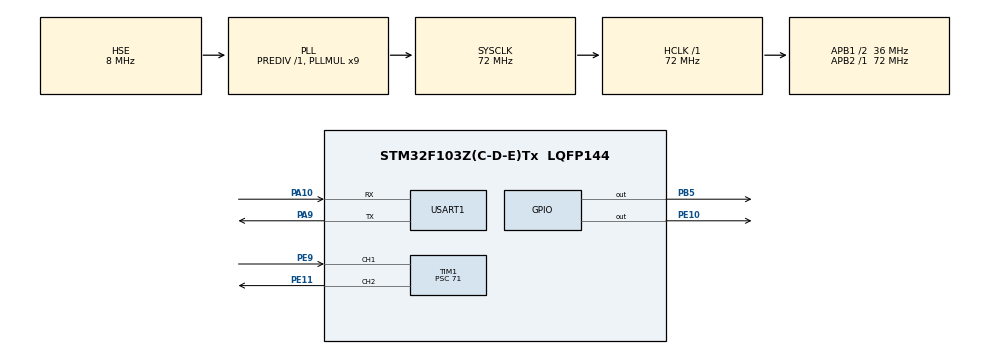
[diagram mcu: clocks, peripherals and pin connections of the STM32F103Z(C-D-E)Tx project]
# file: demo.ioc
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Mcu.Family=STM32F1
Mcu.Name=STM32F103Z(C-D-E)Tx
Mcu.Package=LQFP144
NVIC.PriorityGroup=NVIC_PRIORITYGROUP_4
NVIC.TIM1_CC_IRQn=true\:0\:0\:false\:false\:true\:true\:true
NVIC.TIM1_UP_IRQn=true\:0\:0\:false\:false\:true\:true\:true
NVIC.USART1_IRQn=true\:2\:0\:true\:false\:true\:true\:true
OSC_IN.Mode=HSE-External-Oscillator
OSC_IN.Signal=RCC_OSC_IN
OSC_OUT.Mode=HSE-External-Oscillator
OSC_OUT.Signal=RCC_OSC_OUT
PA10.Mode=Asynchronous
PA10.Signal=USART1_RX
PA13.Mode=Serial_Wire
PA13.Signal=SYS_JTMS-SWDIO
PA14.Mode=Serial_Wire
PA14.Signal=SYS_JTCK-SWCLK
PA9.Mode=Asynchronous
PA9.Signal=USART1_TX
PB5.GPIO_PuPd=GPIO_PULLUP
PB5.GPIO_Speed=GPIO_SPEED_FREQ_HIGH
PB5.Signal=GPIO_Output
PE10.GPIO_PuPd=GPIO_PULLDOWN
PE10.GPIO_Speed=GPIO_SPEED_FREQ_HIGH
PE10.PinState=GPIO_PIN_RESET
PE10.Signal=GPIO_Output
PE11.Signal=S_TIM1_CH2
PE9.GPIO_PuPd=GPIO_PULLDOWN
PE9.Signal=S_TIM1_CH1
ProjectManager.HeapSize=0x200
ProjectManager.StackSize=0x400
ProjectManager.TargetToolchain=MDK-ARM V5
RCC.AHBFreq_Value=72000000
RCC.APB1CLKDivider=RCC_HCLK_DIV2
RCC.APB1Freq_Value=36000000
RCC.APB1TimFreq_Value=72000000
RCC.APB2Freq_Value=72000000
RCC.APB2TimFreq_Value=72000000
RCC.HCLKFreq_Value=72000000
RCC.PLLMUL=RCC_PLL_MUL9
RCC.PLLSourceVirtual=RCC_PLLSOURCE_HSE
RCC.SYSCLKFreq_VALUE=72000000
RCC.SYSCLKSource=RCC_SYSCLKSOURCE_PLLCLK
RCC.USBFreq_Value=72000000
SH.S_TIM1_CH1.0=TIM1_CH1,Input_Capture1_from_TI1
SH.S_TIM1_CH2.0=TIM1_CH2,PWM Generation2 CH2
TIM1.Channel-Input_Capture1_from_TI1=TIM_CHANNEL_1
TIM1.Channel-PWM\ Generation2\ CH2=TIM_CHANNEL_2
TIM1.Period=9999
TIM1.Prescaler=71
TIM1.Pulse-PWM\ Generation2\ CH2=4999
USART1.VirtualMode=VM_ASYNC
VP_TIM1_VS_ClockSourceINT.Mode=Internal
board=custom

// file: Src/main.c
/* USER CODE BEGIN Header */
/**
  ******************************************************************************
  * @file           : main.c
  * @brief          : Main program body
  ******************************************************************************
  * @attention
  *
  * <h2><center>&copy; Copyright (c) 2022 STMicroelectronics.
  * All rights reserved.</center></h2>
  *
  * This software component is licensed by ST under BSD 3-Clause license,
  * the "License"; You may not use this file except in compliance with the
  * License. You may obtain a copy of the License at:
  *                        opensource.org/licenses/BSD-3-Clause
  *
  ******************************************************************************
  */
/* USER CODE END Header */
#include "main.h"

/* USER CODE BEGIN Includes */
#include <string.h>
#include <stdbool.h>
#include <stdio.h>

/* USER CODE END Includes */

/* USER CODE BEGIN PTD */
#define Pi 3.1415926
/* USER CODE END PTD */

TIM_HandleTypeDef htim1;

UART_HandleTypeDef huart1;

void SystemClock_Config(void);
static void MX_GPIO_Init(void);
static void MX_USART1_UART_Init(void);
static void MX_TIM1_Init(void);

/* USER CODE BEGIN 0 */
	uint8_t RxBuffer[3];
	GPIO_PinState GPIO_PIN_5_State=GPIO_PIN_RESET;
	_Bool LedState=true;
	char LedOn[]="the led in on";
	char LedOff[]="the led in off";
	uint32_t CaptureValue=0;
	double Length=0;
	_Bool Capturing=false;
/* USER CODE END 0 */

int main(void)
{

  /* MCU Configuration--------------------------------------------------------*/

  /* Reset of all peripherals, Initializes the Flash interface and the Systick. */
  HAL_Init();

  /* Configure the system clock */
  SystemClock_Config();

  /* Initialize all configured peripherals */
  MX_GPIO_Init();
  MX_USART1_UART_Init();
  MX_TIM1_Init();
  /* USER CODE BEGIN 2 */

	HAL_UART_Receive_IT(&huart1, RxBuffer, 3);
	//HAL_TIM_Base_Start_IT(&htim1);
	HAL_TIM_IC_Start_IT(&htim1, TIM_CHANNEL_1);
	HAL_TIM_PWM_Start(&htim1, TIM_CHANNEL_2);

  /* USER CODE END 2 */

  /* Infinite loop */
  /* USER CODE BEGIN WHILE */

  while (1)
  {
		unsigned char data[8]="hello\r\n";
		HAL_GPIO_WritePin(GPIOE, GPIO_PIN_10, GPIO_PIN_SET);
		HAL_Delay(1);
		HAL_GPIO_WritePin(GPIOE, GPIO_PIN_10, GPIO_PIN_RESET);
		HAL_Delay(1000);

    /* USER CODE END WHILE */

  }
}

void SystemClock_Config(void)
{
  RCC_OscInitTypeDef RCC_OscInitStruct = {0};
  RCC_ClkInitTypeDef RCC_ClkInitStruct = {0};

  /** Initializes the RCC Oscillators according to the specified parameters
  * in the RCC_OscInitTypeDef structure.
  */
  RCC_OscInitStruct.OscillatorType = RCC_OSCILLATORTYPE_HSE;
  RCC_OscInitStruct.HSEState = RCC_HSE_ON;
  RCC_OscInitStruct.HSEPredivValue = RCC_HSE_PREDIV_DIV1;
  RCC_OscInitStruct.HSIState = RCC_HSI_ON;
  RCC_OscInitStruct.PLL.PLLState = RCC_PLL_ON;
  RCC_OscInitStruct.PLL.PLLSource = RCC_PLLSOURCE_HSE;
  RCC_OscInitStruct.PLL.PLLMUL = RCC_PLL_MUL9;
  if (HAL_RCC_OscConfig(&RCC_OscInitStruct) != HAL_OK)
  {
    Error_Handler();
  }
  /** Initializes the CPU, AHB and APB buses clocks
  */
  RCC_ClkInitStruct.ClockType = RCC_CLOCKTYPE_HCLK|RCC_CLOCKTYPE_SYSCLK
                              |RCC_CLOCKTYPE_PCLK1|RCC_CLOCKTYPE_PCLK2;
  RCC_ClkInitStruct.SYSCLKSource = RCC_SYSCLKSOURCE_PLLCLK;
  RCC_ClkInitStruct.AHBCLKDivider = RCC_SYSCLK_DIV1;
  RCC_ClkInitStruct.APB1CLKDivider = RCC_HCLK_DIV2;
  RCC_ClkInitStruct.APB2CLKDivider = RCC_HCLK_DIV1;

  if (HAL_RCC_ClockConfig(&RCC_ClkInitStruct, FLASH_LATENCY_2) != HAL_OK)
  {
    Error_Handler();
  }
}

static void MX_TIM1_Init(void)
{

  TIM_ClockConfigTypeDef sClockSourceConfig = {0};
  TIM_MasterConfigTypeDef sMasterConfig = {0};
  TIM_IC_InitTypeDef sConfigIC = {0};
  TIM_OC_InitTypeDef sConfigOC = {0};
  TIM_BreakDeadTimeConfigTypeDef sBreakDeadTimeConfig = {0};

  htim1.Instance = TIM1;
  htim1.Init.Prescaler = 71;
  htim1.Init.CounterMode = TIM_COUNTERMODE_UP;
  htim1.Init.Period = 9999;
  htim1.Init.ClockDivision = TIM_CLOCKDIVISION_DIV1;
  htim1.Init.RepetitionCounter = 0;
  htim1.Init.AutoReloadPreload = TIM_AUTORELOAD_PRELOAD_DISABLE;
  if (HAL_TIM_Base_Init(&htim1) != HAL_OK)
  {
    Error_Handler();
  }
  sClockSourceConfig.ClockSource = TIM_CLOCKSOURCE_INTERNAL;
  if (HAL_TIM_ConfigClockSource(&htim1, &sClockSourceConfig) != HAL_OK)
  {
    Error_Handler();
  }
  if (HAL_TIM_IC_Init(&htim1) != HAL_OK)
  {
    Error_Handler();
  }
  if (HAL_TIM_PWM_Init(&htim1) != HAL_OK)
  {
    Error_Handler();
  }
  sMasterConfig.MasterOutputTrigger = TIM_TRGO_RESET;
  sMasterConfig.MasterSlaveMode = TIM_MASTERSLAVEMODE_DISABLE;
  if (HAL_TIMEx_MasterConfigSynchronization(&htim1, &sMasterConfig) != HAL_OK)
  {
    Error_Handler();
  }
  sConfigIC.ICPolarity = TIM_INPUTCHANNELPOLARITY_RISING;
  sConfigIC.ICSelection = TIM_ICSELECTION_DIRECTTI;
  sConfigIC.ICPrescaler = TIM_ICPSC_DIV1;
  sConfigIC.ICFilter = 0;
  if (HAL_TIM_IC_ConfigChannel(&htim1, &sConfigIC, TIM_CHANNEL_1) != HAL_OK)
  {
    Error_Handler();
  }
  sConfigOC.OCMode = TIM_OCMODE_PWM1;
  sConfigOC.Pulse = 4999;
  sConfigOC.OCPolarity = TIM_OCPOLARITY_HIGH;
  sConfigOC.OCNPolarity = TIM_OCNPOLARITY_HIGH;
  sConfigOC.OCFastMode = TIM_OCFAST_DISABLE;
  sConfigOC.OCIdleState = TIM_OCIDLESTATE_RESET;
  sConfigOC.OCNIdleState = TIM_OCNIDLESTATE_RESET;
  if (HAL_TIM_PWM_ConfigChannel(&htim1, &sConfigOC, TIM_CHANNEL_2) != HAL_OK)
  {
    Error_Handler();
  }
  sBreakDeadTimeConfig.OffStateRunMode = TIM_OSSR_DISABLE;
  sBreakDeadTimeConfig.OffStateIDLEMode = TIM_OSSI_DISABLE;
  sBreakDeadTimeConfig.LockLevel = TIM_LOCKLEVEL_OFF;
  sBreakDeadTimeConfig.DeadTime = 0;
  sBreakDeadTimeConfig.BreakState = TIM_BREAK_DISABLE;
  sBreakDeadTimeConfig.BreakPolarity = TIM_BREAKPOLARITY_HIGH;
  sBreakDeadTimeConfig.AutomaticOutput = TIM_AUTOMATICOUTPUT_DISABLE;
  if (HAL_TIMEx_ConfigBreakDeadTime(&htim1, &sBreakDeadTimeConfig) != HAL_OK)
  {
    Error_Handler();
  }
  HAL_TIM_MspPostInit(&htim1);

}

static void MX_USART1_UART_Init(void)
{

  huart1.Instance = USART1;
  huart1.Init.BaudRate = 115200;
  huart1.Init.WordLength = UART_WORDLENGTH_8B;
  huart1.Init.StopBits = UART_STOPBITS_1;
  huart1.Init.Parity = UART_PARITY_NONE;
  huart1.Init.Mode = UART_MODE_TX_RX;
  huart1.Init.HwFlowCtl = UART_HWCONTROL_NONE;
  huart1.Init.OverSampling = UART_OVERSAMPLING_16;
  if (HAL_UART_Init(&huart1) != HAL_OK)
  {
    Error_Handler();
  }

}

static void MX_GPIO_Init(void)
{
  GPIO_InitTypeDef GPIO_InitStruct = {0};

  /* GPIO Ports Clock Enable */
  __HAL_RCC_GPIOE_CLK_ENABLE();
  __HAL_RCC_GPIOA_CLK_ENABLE();
  __HAL_RCC_GPIOB_CLK_ENABLE();

  /*Configure GPIO pin Output Level */
  HAL_GPIO_WritePin(GPIOE, GPIO_PIN_10, GPIO_PIN_RESET);

  /*Configure GPIO pin Output Level */
  HAL_GPIO_WritePin(GPIOB, GPIO_PIN_5, GPIO_PIN_RESET);

  /*Configure GPIO pin : PE10 */
  GPIO_InitStruct.Pin = GPIO_PIN_10;
  GPIO_InitStruct.Mode = GPIO_MODE_OUTPUT_PP;
  GPIO_InitStruct.Pull = GPIO_PULLDOWN;
  GPIO_InitStruct.Speed = GPIO_SPEED_FREQ_HIGH;
  HAL_GPIO_Init(GPIOE, &GPIO_InitStruct);

  /*Configure GPIO pin : PB5 */
  GPIO_InitStruct.Pin = GPIO_PIN_5;
  GPIO_InitStruct.Mode = GPIO_MODE_OUTPUT_PP;
  GPIO_InitStruct.Pull = GPIO_PULLUP;
  GPIO_InitStruct.Speed = GPIO_SPEED_FREQ_HIGH;
  HAL_GPIO_Init(GPIOB, &GPIO_InitStruct);

}

/* USER CODE BEGIN 4 */
void HAL_UART_RxCpltCallback(UART_HandleTypeDef *huart)
{
  /* Prevent unused argument(s) compilation warning */

		char Instruct[sizeof(RxBuffer)];
		strcpy(Instruct,(char *)RxBuffer);
		LedState=!LedState;
//		for(int i=0;i<sizeof(Instruct);i++)
//		{
//			Instruct[i]=RxBuffer[i];
//		}

//		HAL_Delay(10);
//		if(strncmp(Instruct,"ONN",sizeof(Instruct))==0)
//			{
//				HAL_GPIO_WritePin(GPIOB, GPIO_PIN_5, GPIO_PIN_RESET);
//				HAL_UART_Transmit(huart,(uint8_t*)LedOn,sizeof(LedOn),1000);
//			}
//		else if(strncmp(Instruct,"OFF",sizeof(Instruct))==0)
//			{
//				HAL_GPIO_WritePin(GPIOB, GPIO_PIN_5, GPIO_PIN_SET);
//				HAL_UART_Transmit(huart,(uint8_t*)LedOff,sizeof(LedOff),1000);
//			}

				HAL_GPIO_WritePin(GPIOB, GPIO_PIN_5, LedState);

		HAL_UART_Receive_IT(&huart1, RxBuffer, 3);

  /* NOTE: This function should not be modified, when the callback is needed,
           the HAL_UART_RxCpltCallback could be implemented in the user file
   */
}

void HAL_TIM_PeriodElapsedCallback(TIM_HandleTypeDef *htim)
{
	HAL_UART_Transmit(&huart1,(uint8_t*)LedOff,sizeof(LedOff),1000);

}

void HAL_TIM_IC_CaptureCallback(TIM_HandleTypeDef *htim)
{

	if(Capturing==false)
	{
		Capturing=true;
//		__HAL_TIM_DISABLE(htim);
		__HAL_TIM_SET_COUNTER(htim, 0);
//		TIM_RESET_CAPTUREPOLARITY(htim, TIM_CHANNEL_1);
		TIM_SET_CAPTUREPOLARITY(htim, TIM_CHANNEL_1, TIM_INPUTCHANNELPOLARITY_FALLING);
//		__HAL_TIM_ENABLE(htim);

	}
	else
	{
		Capturing=false;
		CaptureValue=HAL_TIM_ReadCapturedValue(htim, TIM_CHANNEL_1);
		Length=CaptureValue*0.017;//cm
		printf("distance:%fcm\n",Length);
		//HAL_UART_Transmit(&huart1,(uint8_t*)CaptureValue,4,1000);
		TIM_RESET_CAPTUREPOLARITY(htim, TIM_CHANNEL_1);
		TIM_SET_CAPTUREPOLARITY(htim, TIM_CHANNEL_1, TIM_INPUTCHANNELPOLARITY_RISING);
	}
}

#if 1
#pragma import(__use_no_semihosting)
//标准库需要的支持函数
struct __FILE
{
	int handle;

};

FILE __stdout;
//定义_sys_exit()以避免使用半主机模式
void _sys_exit(int x)
{
	x = x;
}
//重定义fputc函数
int fputc(int ch, FILE *f)
{
	while((USART1->SR&0X40)==0);//循环发送,直到发送完毕
    USART1->DR = (uint8_t) ch;
	return ch;
}
#endif
/* USER CODE END 4 */

void Error_Handler(void)
{
}

/************************ (C) COPYRIGHT STMicroelectronics *****END OF FILE****/
